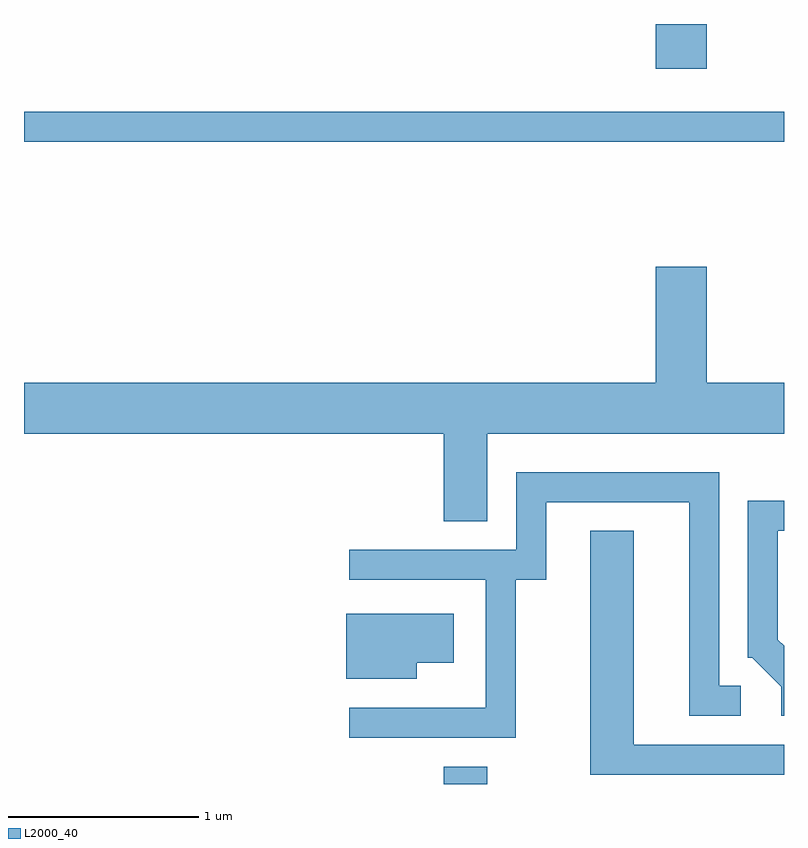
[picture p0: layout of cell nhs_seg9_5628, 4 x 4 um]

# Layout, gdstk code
import gdstk
lib = gdstk.Library(unit=1e-6, precision=1e-09)
def R(c, l, rs):  # rectangles x0, y0, x1, y1
    for r in rs: c.add(gdstk.rectangle(r[:2], r[2:], *l))
def P(c, l, *ps):  # polygons
    for p in ps: c.add(gdstk.Polygon(p, *l))
L2000_40 = (2000, 40)

nhs_seg9_5628 = lib.new_cell('nhs_seg9_5628')
R(nhs_seg9_5628, L2000_40, [(353.821,1974.432,354.049,1974.524), (351.611,1977.811,355.611,1977.969), (354.936,1978.196,355.204,1978.432)])
P(nhs_seg9_5628, L2000_40, [(351.611,1976.276),(353.821,1976.276),(353.821,1975.816),(354.049,1975.816),(354.049,1976.276),(355.611,1976.276),(355.611,1976.544),(355.204,1976.544),(355.204,1977.154),(354.936,1977.154),(354.936,1976.544),(351.611,1976.544)],
  [(354.199,1975.506),(354.359,1975.506),(354.359,1975.916),(355.111,1975.916),(355.111,1974.791),(355.383,1974.791),(355.383,1974.949),(355.269,1974.949),(355.269,1976.074),(354.201,1976.074),(354.201,1975.664),(353.323,1975.664),(353.323,1975.506),(354.041,1975.506),(354.041,1974.834),(353.323,1974.834),(353.323,1974.676),(354.199,1974.676)],
  [(355.611,1975.16),(355.579,1975.192),(355.579,1975.766),(355.611,1975.766),(355.611,1975.924),(355.421,1975.924),(355.421,1975.096),(355.444,1975.096),(355.596,1974.944),(355.596,1974.791),(355.611,1974.791)],
  [(355.611,1974.639),(354.819,1974.639),(354.819,1975.764),(354.591,1975.764),(354.591,1974.481),(355.611,1974.481)],
  [(353.679,1975.071),(353.874,1975.071),(353.874,1975.329),(353.306,1975.329),(353.306,1974.986),(353.679,1974.986)])

lib.write_gds('nhs_seg9_5628.gds')
